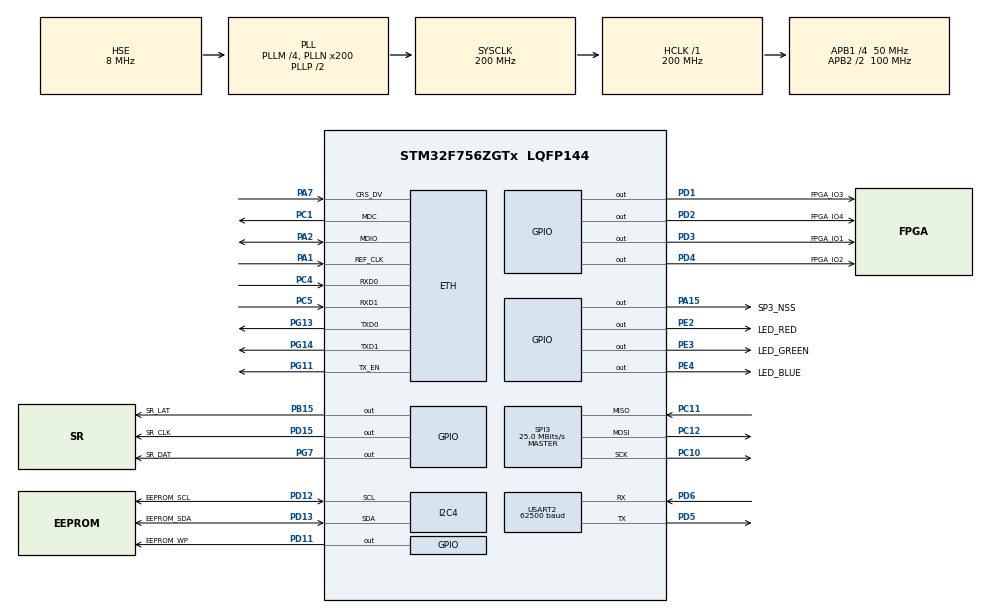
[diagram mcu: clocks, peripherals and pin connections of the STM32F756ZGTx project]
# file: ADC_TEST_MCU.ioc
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ETH.MediaInterface=ETH_MEDIA_INTERFACE_RMII
ETH.PHY_Name_RMII=LAN8742A_PHY_ADDRESS
ETH.PhyAddress=0
FREERTOS.Tasks01=defaultTask,24,256,StartDefaultTask,Default,NULL,Dynamic,NULL,NULL;myTaskLED,8,256,StartTaskLED,Default,NULL,Dynamic,NULL,NULL;LogData,8,256,StartTaskLogData,Default,NULL,Dynamic,NULL,NULL
FREERTOS.configMINIMAL_STACK_SIZE=256
FREERTOS.configTOTAL_HEAP_SIZE=90720
FREERTOS.configUSE_NEWLIB_REENTRANT=1
I2C4.Timing=0x00C0EAFF
LWIP.DEFAULT_THREAD_STACKSIZE=2048
LWIP.GATEWAY_ADDRESS=192.168.000.001
LWIP.IP_ADDRESS=192.168.000.123
LWIP.LWIP_DHCP=0
LWIP.MEM_SIZE=6400
LWIP.NETMASK_ADDRESS=255.255.255.000
LWIP.TCPIP_THREAD_STACKSIZE=2048
LWIP.Version=v2.1.2_Cube
Mcu.Family=STM32F7
Mcu.Name=STM32F756ZGTx
Mcu.Package=LQFP144
NVIC.ETH_IRQn=true\:5\:0\:true\:false\:true\:false\:false\:true
NVIC.PriorityGroup=NVIC_PRIORITYGROUP_4
NVIC.TIM1_UP_TIM10_IRQn=true\:0\:0\:false\:false\:true\:false\:false\:true
NVIC.TimeBase=TIM1_UP_TIM10_IRQn
NVIC.TimeBaseIP=TIM1
PA1.Mode=RMII
PA1.Signal=ETH_REF_CLK
PA13.Mode=Serial_Wire
PA13.Signal=SYS_JTMS-SWDIO
PA14.Mode=Serial_Wire
PA14.Signal=SYS_JTCK-SWCLK
PA15.GPIO_Label=SP3_NSS
PA15.Signal=GPIO_Output
PA2.Mode=RMII
PA2.Signal=ETH_MDIO
PA7.Mode=RMII
PA7.Signal=ETH_CRS_DV
PB15.GPIO_Label=SR_LAT
PB15.GPIO_Speed=GPIO_SPEED_FREQ_HIGH
PB15.Signal=GPIO_Output
PC1.Mode=RMII
PC1.Signal=ETH_MDC
PC10.Mode=Full_Duplex_Master
PC10.Signal=SPI3_SCK
PC11.Mode=Full_Duplex_Master
PC11.Signal=SPI3_MISO
PC12.Mode=Full_Duplex_Master
PC12.Signal=SPI3_MOSI
PC4.Mode=RMII
PC4.Signal=ETH_RXD0
PC5.Mode=RMII
PC5.Signal=ETH_RXD1
PD1.GPIO_Label=FPGA_IO3
PD1.Signal=GPIO_Output
PD11.GPIO_Label=EEPROM_WP
PD11.Signal=GPIO_Output
PD12.GPIO_Label=EEPROM_SCL
PD12.Mode=I2C
PD12.Signal=I2C4_SCL
PD13.GPIO_Label=EEPROM_SDA
PD13.Mode=I2C
PD13.Signal=I2C4_SDA
PD15.GPIO_Label=SR_CLK
PD15.GPIO_Speed=GPIO_SPEED_FREQ_HIGH
PD15.Signal=GPIO_Output
PD2.GPIO_Label=FPGA_IO4
PD2.Signal=GPIO_Output
PD3.GPIO_Label=FPGA_IO1
PD3.Signal=GPIO_Output
PD4.GPIO_Label=FPGA_IO2
PD4.Signal=GPIO_Output
PD5.Mode=Asynchronous
PD5.Signal=USART2_TX
PD6.GPIO_PuPd=GPIO_PULLUP
PD6.GPIO_Speed=GPIO_SPEED_FREQ_MEDIUM
PD6.Mode=Asynchronous
PD6.Signal=USART2_RX
PE2.GPIO_Label=LED_RED
PE2.GPIO_Speed=GPIO_SPEED_FREQ_MEDIUM
PE2.PinState=GPIO_PIN_SET
PE2.Signal=GPIO_Output
PE3.GPIO_Label=LED_GREEN
PE3.GPIO_Speed=GPIO_SPEED_FREQ_MEDIUM
PE3.PinState=GPIO_PIN_SET
PE3.Signal=GPIO_Output
PE4.GPIO_Label=LED_BLUE
PE4.GPIO_Speed=GPIO_SPEED_FREQ_MEDIUM
PE4.PinState=GPIO_PIN_SET
PE4.Signal=GPIO_Output
PG11.Mode=RMII
PG11.Signal=ETH_TX_EN
PG13.Mode=RMII
PG13.Signal=ETH_TXD0
PG14.Mode=RMII
PG14.Signal=ETH_TXD1
PG7.GPIO_Label=SR_DAT
PG7.GPIO_Speed=GPIO_SPEED_FREQ_HIGH
PG7.Signal=GPIO_Output
PH0/OSC_IN.Mode=HSE-External-Oscillator
PH0/OSC_IN.Signal=RCC_OSC_IN
PH1/OSC_OUT.Mode=HSE-External-Oscillator
PH1/OSC_OUT.Signal=RCC_OSC_OUT
ProjectManager.HeapSize=0x200
ProjectManager.StackSize=0x400
ProjectManager.TargetToolchain=STM32CubeIDE
RCC.AHBFreq_Value=200000000
RCC.APB1CLKDivider=RCC_HCLK_DIV4
RCC.APB1Freq_Value=50000000
RCC.APB1TimFreq_Value=100000000
RCC.APB2CLKDivider=RCC_HCLK_DIV2
RCC.APB2Freq_Value=100000000
RCC.APB2TimFreq_Value=200000000
RCC.CortexFreq_Value=200000000
RCC.HCLKFreq_Value=200000000
RCC.HSE_VALUE=8000000
RCC.HSI_VALUE=16000000
RCC.LSE_VALUE=32768
RCC.PLLM=4
RCC.PLLN=200
RCC.PLLSourceVirtual=RCC_PLLSOURCE_HSE
RCC.SYSCLKFreq_VALUE=200000000
RCC.SYSCLKSource=RCC_SYSCLKSOURCE_PLLCLK
RCC.USBFreq_Value=200000000
RCC.VCOOutputFreq_Value=400000000
SPI3.CalculateBaudRate=25.0 MBits/s
SPI3.Direction=SPI_DIRECTION_2LINES
SPI3.Mode=SPI_MODE_MASTER
SPI3.VirtualType=VM_MASTER
USART2.AutoBaudRateEnableParam=UART_ADVFEATURE_AUTOBAUDRATE_DISABLE
USART2.BaudRate=62500
USART2.DataInvertParam=ADVFEATURE_DATAINV_DISABLE
USART2.MSBFirstParam=ADVFEATURE_MSBFIRST_DISABLE
USART2.OverSampling=UART_OVERSAMPLING_16
USART2.VirtualMode-Asynchronous=VM_ASYNC
USART2.WordLength=WORDLENGTH_8B
VP_FREERTOS_VS_CMSIS_V2.Mode=CMSIS_V2
VP_LWIP_VS_Enabled.Mode=Enabled
VP_SYS_VS_tim1.Mode=TIM1
board=custom

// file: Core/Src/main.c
/* USER CODE BEGIN Header */
/**
  ******************************************************************************
  * @file           : main.c
  * @brief          : Main program body
  ******************************************************************************
  * @attention
  *
  * <h2><center>&copy; Copyright (c) 2020 STMicroelectronics.
  * All rights reserved.</center></h2>
  *
  * This software component is licensed by ST under BSD 3-Clause license,
  * the "License"; You may not use this file except in compliance with the
  * License. You may obtain a copy of the License at:
  *                        opensource.org/licenses/BSD-3-Clause
  *
  ******************************************************************************
  */
/* USER CODE END Header */
#include "main.h"
#include "cmsis_os.h"
#include "lwip.h"
#include "bsp_ee24.h"

I2C_HandleTypeDef hi2c4;

SPI_HandleTypeDef hspi3;

UART_HandleTypeDef huart2;

/* Definitions for defaultTask */
osThreadId_t defaultTaskHandle;
const osThreadAttr_t defaultTask_attributes = {
  .name = "defaultTask",
  .priority = (osPriority_t) osPriorityNormal,
  .stack_size = 256 * 4
};
/* Definitions for myTaskLED */
osThreadId_t myTaskLEDHandle;
const osThreadAttr_t myTaskLED_attributes = {
  .name = "myTaskLED",
  .priority = (osPriority_t) osPriorityLow,
  .stack_size = 256 * 4
};
/* Definitions for LogData */
osThreadId_t LogDataHandle;
const osThreadAttr_t LogData_attributes = {
  .name = "LogData",
  .priority = (osPriority_t) osPriorityLow,
  .stack_size = 256 * 4
};
/* USER CODE BEGIN PV */

uint8_t rx_data[6] = {0x00};
uint8_t it_array_mul[10]={1, 1, 1, 1, 2, 5, 10, 0};
double it_array_refcor[3]={1, 1.01582, 1};
uint32_t count_fail= 0;
uint8_t new_data = 0;
struct cfg_struct dmm;

/* USER CODE END PV */

void SystemClock_Config(void);
static void MX_GPIO_Init(void);
static void MX_I2C4_Init(void);
static void MX_SPI3_Init(void);
static void MX_USART2_UART_Init(void);
void StartDefaultTask(void *argument);
void StartTaskLED(void *argument);
void StartTaskLogData(void *argument);
void DMM_Init();

int main(void)
{

  /* MCU Configuration--------------------------------------------------------*/

  /* Reset of all peripherals, Initializes the Flash interface and the Systick. */
  HAL_Init();

  /* Configure the system clock */
  SystemClock_Config();

  /* Initialize all configured peripherals */
  MX_GPIO_Init();
  MX_I2C4_Init();
  MX_SPI3_Init();
  MX_USART2_UART_Init();
  /* USER CODE BEGIN 2 */

  MX_LWIP_Init();
  DMM_Init();

  /* USER CODE END 2 */

  /* Init scheduler */
  osKernelInitialize();

  /* Create the thread(s) */
  /* creation of defaultTask */
  //defaultTaskHandle = osThreadNew(StartDefaultTask, NULL, &defaultTask_attributes);

  /* creation of myTaskLED */
  myTaskLEDHandle = osThreadNew(StartTaskLED, NULL, &myTaskLED_attributes);

  /* creation of LogData */
 // LogDataHandle = osThreadNew(StartTaskLogData, NULL, &LogData_attributes);

  /* USER CODE BEGIN RTOS_THREADS */

  scpi_server_init();

  /* USER CODE END RTOS_THREADS */

  /* Start scheduler */
  osKernelStart();

  /* We should never get here as control is now taken by the scheduler */
  /* Infinite loop */
  while (1)
  {

  }
}

void SystemClock_Config(void)
{
  RCC_OscInitTypeDef RCC_OscInitStruct = {0};
  RCC_ClkInitTypeDef RCC_ClkInitStruct = {0};
  RCC_PeriphCLKInitTypeDef PeriphClkInitStruct = {0};

  /** Configure the main internal regulator output voltage
  */
  __HAL_RCC_PWR_CLK_ENABLE();
  __HAL_PWR_VOLTAGESCALING_CONFIG(PWR_REGULATOR_VOLTAGE_SCALE1);
  /** Initializes the RCC Oscillators according to the specified parameters
  * in the RCC_OscInitTypeDef structure.
  */
  RCC_OscInitStruct.OscillatorType = RCC_OSCILLATORTYPE_HSE;
  RCC_OscInitStruct.HSEState = RCC_HSE_ON;
  RCC_OscInitStruct.PLL.PLLState = RCC_PLL_ON;
  RCC_OscInitStruct.PLL.PLLSource = RCC_PLLSOURCE_HSE;
  RCC_OscInitStruct.PLL.PLLM = 4;
  RCC_OscInitStruct.PLL.PLLN = 200;
  RCC_OscInitStruct.PLL.PLLP = RCC_PLLP_DIV2;
  RCC_OscInitStruct.PLL.PLLQ = 2;
  if (HAL_RCC_OscConfig(&RCC_OscInitStruct) != HAL_OK)
  {
    Error_Handler();
  }
  /** Activate the Over-Drive mode
  */
  if (HAL_PWREx_EnableOverDrive() != HAL_OK)
  {
    Error_Handler();
  }
  /** Initializes the CPU, AHB and APB buses clocks
  */
  RCC_ClkInitStruct.ClockType = RCC_CLOCKTYPE_HCLK|RCC_CLOCKTYPE_SYSCLK
                              |RCC_CLOCKTYPE_PCLK1|RCC_CLOCKTYPE_PCLK2;
  RCC_ClkInitStruct.SYSCLKSource = RCC_SYSCLKSOURCE_PLLCLK;
  RCC_ClkInitStruct.AHBCLKDivider = RCC_SYSCLK_DIV1;
  RCC_ClkInitStruct.APB1CLKDivider = RCC_HCLK_DIV4;
  RCC_ClkInitStruct.APB2CLKDivider = RCC_HCLK_DIV2;

  if (HAL_RCC_ClockConfig(&RCC_ClkInitStruct, FLASH_LATENCY_6) != HAL_OK)
  {
    Error_Handler();
  }
  PeriphClkInitStruct.PeriphClockSelection = RCC_PERIPHCLK_USART2|RCC_PERIPHCLK_I2C4;
  PeriphClkInitStruct.Usart2ClockSelection = RCC_USART2CLKSOURCE_PCLK1;
  PeriphClkInitStruct.I2c4ClockSelection = RCC_I2C4CLKSOURCE_PCLK1;
  if (HAL_RCCEx_PeriphCLKConfig(&PeriphClkInitStruct) != HAL_OK)
  {
    Error_Handler();
  }
}

static void MX_I2C4_Init(void)
{

  hi2c4.Instance = I2C4;
  hi2c4.Init.Timing = 0x00C0EAFF;
  hi2c4.Init.OwnAddress1 = 0;
  hi2c4.Init.AddressingMode = I2C_ADDRESSINGMODE_7BIT;
  hi2c4.Init.DualAddressMode = I2C_DUALADDRESS_DISABLE;
  hi2c4.Init.OwnAddress2 = 0;
  hi2c4.Init.OwnAddress2Masks = I2C_OA2_NOMASK;
  hi2c4.Init.GeneralCallMode = I2C_GENERALCALL_DISABLE;
  hi2c4.Init.NoStretchMode = I2C_NOSTRETCH_DISABLE;
  if (HAL_I2C_Init(&hi2c4) != HAL_OK)
  {
    Error_Handler();
  }
  /** Configure Analogue filter
  */
  if (HAL_I2CEx_ConfigAnalogFilter(&hi2c4, I2C_ANALOGFILTER_ENABLE) != HAL_OK)
  {
    Error_Handler();
  }
  /** Configure Digital filter
  */
  if (HAL_I2CEx_ConfigDigitalFilter(&hi2c4, 0) != HAL_OK)
  {
    Error_Handler();
  }

}

static void MX_SPI3_Init(void)
{

  /* SPI3 parameter configuration*/
  hspi3.Instance = SPI3;
  hspi3.Init.Mode = SPI_MODE_MASTER;
  hspi3.Init.Direction = SPI_DIRECTION_2LINES;
  hspi3.Init.DataSize = SPI_DATASIZE_4BIT;
  hspi3.Init.CLKPolarity = SPI_POLARITY_LOW;
  hspi3.Init.CLKPhase = SPI_PHASE_1EDGE;
  hspi3.Init.NSS = SPI_NSS_SOFT;
  hspi3.Init.BaudRatePrescaler = SPI_BAUDRATEPRESCALER_2;
  hspi3.Init.FirstBit = SPI_FIRSTBIT_MSB;
  hspi3.Init.TIMode = SPI_TIMODE_DISABLE;
  hspi3.Init.CRCCalculation = SPI_CRCCALCULATION_DISABLE;
  hspi3.Init.CRCPolynomial = 7;
  hspi3.Init.CRCLength = SPI_CRC_LENGTH_DATASIZE;
  hspi3.Init.NSSPMode = SPI_NSS_PULSE_ENABLE;
  if (HAL_SPI_Init(&hspi3) != HAL_OK)
  {
    Error_Handler();
  }

}

static void MX_USART2_UART_Init(void)
{

  huart2.Instance = USART2;
  huart2.Init.BaudRate = 62500;
  huart2.Init.WordLength = UART_WORDLENGTH_8B;
  huart2.Init.StopBits = UART_STOPBITS_1;
  huart2.Init.Parity = UART_PARITY_NONE;
  huart2.Init.Mode = UART_MODE_TX_RX;
  huart2.Init.HwFlowCtl = UART_HWCONTROL_NONE;
  huart2.Init.OverSampling = UART_OVERSAMPLING_16;
  huart2.Init.OneBitSampling = UART_ONE_BIT_SAMPLE_DISABLE;
  huart2.AdvancedInit.AdvFeatureInit = UART_ADVFEATURE_NO_INIT;
  if (HAL_UART_Init(&huart2) != HAL_OK)
  {
    Error_Handler();
  }

}

static void MX_GPIO_Init(void)
{
  GPIO_InitTypeDef GPIO_InitStruct = {0};

  /* GPIO Ports Clock Enable */
  __HAL_RCC_GPIOE_CLK_ENABLE();
  __HAL_RCC_GPIOH_CLK_ENABLE();
  __HAL_RCC_GPIOC_CLK_ENABLE();
  __HAL_RCC_GPIOA_CLK_ENABLE();
  __HAL_RCC_GPIOB_CLK_ENABLE();
  __HAL_RCC_GPIOD_CLK_ENABLE();
  __HAL_RCC_GPIOG_CLK_ENABLE();

  /*Configure GPIO pin Output Level */
  HAL_GPIO_WritePin(GPIOE, LED_RED_Pin|LED_GREEN_Pin|LED_BLUE_Pin, GPIO_PIN_SET);

  /*Configure GPIO pin Output Level */
  HAL_GPIO_WritePin(SR_LAT_GPIO_Port, SR_LAT_Pin, GPIO_PIN_RESET);

  /*Configure GPIO pin Output Level */
  HAL_GPIO_WritePin(GPIOD, EEPROM_WP_Pin|SR_CLK_Pin|FPGA_IO3_Pin|FPGA_IO4_Pin
                          |FPGA_IO1_Pin|FPGA_IO2_Pin, GPIO_PIN_RESET);

  /*Configure GPIO pin Output Level */
  HAL_GPIO_WritePin(SR_DAT_GPIO_Port, SR_DAT_Pin, GPIO_PIN_RESET);

  /*Configure GPIO pin Output Level */
  HAL_GPIO_WritePin(SP3_NSS_GPIO_Port, SP3_NSS_Pin, GPIO_PIN_RESET);

  /*Configure GPIO pins : LED_RED_Pin LED_GREEN_Pin LED_BLUE_Pin */
  GPIO_InitStruct.Pin = LED_RED_Pin|LED_GREEN_Pin|LED_BLUE_Pin;
  GPIO_InitStruct.Mode = GPIO_MODE_OUTPUT_PP;
  GPIO_InitStruct.Pull = GPIO_NOPULL;
  GPIO_InitStruct.Speed = GPIO_SPEED_FREQ_MEDIUM;
  HAL_GPIO_Init(GPIOE, &GPIO_InitStruct);

  /*Configure GPIO pin : SR_LAT_Pin */
  GPIO_InitStruct.Pin = SR_LAT_Pin;
  GPIO_InitStruct.Mode = GPIO_MODE_OUTPUT_PP;
  GPIO_InitStruct.Pull = GPIO_NOPULL;
  GPIO_InitStruct.Speed = GPIO_SPEED_FREQ_HIGH;
  HAL_GPIO_Init(SR_LAT_GPIO_Port, &GPIO_InitStruct);

  /*Configure GPIO pins : EEPROM_WP_Pin FPGA_IO3_Pin FPGA_IO4_Pin FPGA_IO1_Pin
                           FPGA_IO2_Pin */
  GPIO_InitStruct.Pin = EEPROM_WP_Pin|FPGA_IO3_Pin|FPGA_IO4_Pin|FPGA_IO1_Pin
                          |FPGA_IO2_Pin;
  GPIO_InitStruct.Mode = GPIO_MODE_OUTPUT_PP;
  GPIO_InitStruct.Pull = GPIO_NOPULL;
  GPIO_InitStruct.Speed = GPIO_SPEED_FREQ_LOW;
  HAL_GPIO_Init(GPIOD, &GPIO_InitStruct);

  /*Configure GPIO pin : SR_CLK_Pin */
  GPIO_InitStruct.Pin = SR_CLK_Pin;
  GPIO_InitStruct.Mode = GPIO_MODE_OUTPUT_PP;
  GPIO_InitStruct.Pull = GPIO_NOPULL;
  GPIO_InitStruct.Speed = GPIO_SPEED_FREQ_HIGH;
  HAL_GPIO_Init(SR_CLK_GPIO_Port, &GPIO_InitStruct);

  /*Configure GPIO pin : SR_DAT_Pin */
  GPIO_InitStruct.Pin = SR_DAT_Pin;
  GPIO_InitStruct.Mode = GPIO_MODE_OUTPUT_PP;
  GPIO_InitStruct.Pull = GPIO_NOPULL;
  GPIO_InitStruct.Speed = GPIO_SPEED_FREQ_HIGH;
  HAL_GPIO_Init(SR_DAT_GPIO_Port, &GPIO_InitStruct);

  /*Configure GPIO pin : SP3_NSS_Pin */
  GPIO_InitStruct.Pin = SP3_NSS_Pin;
  GPIO_InitStruct.Mode = GPIO_MODE_OUTPUT_PP;
  GPIO_InitStruct.Pull = GPIO_NOPULL;
  GPIO_InitStruct.Speed = GPIO_SPEED_FREQ_LOW;
  HAL_GPIO_Init(SP3_NSS_GPIO_Port, &GPIO_InitStruct);

}

/* USER CODE BEGIN 4 */

BSP_StatusTypeDef eeprom_status()
{
	uint8_t rx_data = 0;

	if(ee24_isConnected())
	{
		if(ee24_read(EEPROM_END, &rx_data, 1, 1000))
		{
			if(EEPROM_WRITE_DONE == rx_data)
			{
				return BSP_OK;
			}
			else
			{
				return BSP_EEPROM_EMPTY;
			}

		}
		else
		{
			return BSP_EEPROM_READ_ERROR;
		}

	}
	else
	{
		return BSP_EEPROM_NO_CONNECTION;
	}
}

BSP_StatusTypeDef eeprom_read(uint8_t* data, size_t size)
{

	if(ee24_isConnected())
	{
		if(ee24_read(0, data, size, 1000))
		{
			return BSP_OK;
		}
		else
		{
			return BSP_EEPROM_READ_ERROR;
		}

	}
	else
	{
		return BSP_EEPROM_NO_CONNECTION;
	}
}

BSP_StatusTypeDef eeprom_write(uint8_t* data, size_t size)
{
	uint8_t tx_data[1] = {EEPROM_WRITE_DONE};

	if(ee24_isConnected())
	{
		if(ee24_write(0, data, size, 1000))
		{
			if(ee24_write(EEPROM_END, &tx_data, 1, 1000))
			{
				return BSP_OK;
			}
			else
			{
				return BSP_EEPROM_WRITE_ERROR;
			}

		}
		else
		{
			return BSP_EEPROM_WRITE_ERROR;
		}

	}
	else
	{
		return BSP_EEPROM_NO_CONNECTION;
	}
}

void DMM_Init()
{
	BSP_StatusTypeDef status;
	status = eeprom_status();

	if(BSP_EEPROM_EMPTY == status)
	{

	 dmm.calibration.structure.adc_step = CAL_PREDEF_STEP;
	 dmm.calibration.structure.adc_z_offset = CAL_PREDEF_NZO;
	 dmm.calibration.structure.v_1V_offset = CAL_PREDEF_1VO;
	 dmm.calibration.structure.v_1V_gain = CAL_PREDEF_1VG;
	 dmm.calibration.structure.v_10V_offset = CAL_PREDEF_10VO;
	 dmm.calibration.structure.v_10V_gain = CAL_PREDEF_10VG;
	 dmm.calibration.structure.v_100V_offset = CAL_PREDEF_100VO;
	 dmm.calibration.structure.v_100V_gain = CAL_PREDEF_100VG;

	 dmm.adc_cf[0] = 1.000145;
	 dmm.adc_cf[1] = 1.000060;
	 dmm.adc_cf[2] = 1.000015;
	 dmm.adc_cf[3] = 1.0;
	 dmm.adc_cf[4] = 1.0;
	 dmm.adc_cf[5] = 1.0;
	 dmm.adc_cf[6] = 1.0;

	 dmm.adc_raw[0] = 1;
	 dmm.adc_raw[1] = 2;
	 dmm.adc_raw[2] = 5;
	 dmm.adc_raw[3] = 10;
	 dmm.adc_raw[4] = 10;
	 dmm.adc_raw[5] = 10;
	 dmm.adc_raw[6] = 10;

	 dmm.adc_nplc[0] = 1;
	 dmm.adc_nplc[1] = 2;
	 dmm.adc_nplc[2] = 5;
	 dmm.adc_nplc[3] = 10;
	 dmm.adc_nplc[4] = 20;
	 dmm.adc_nplc[5] = 50;
	 dmm.adc_nplc[6] = 100;

	 dmm.nplc = 10;
	 dmm.range = 100;
	 dmm.range_index = 2;
	 dmm.nplc_index = 3;
	 dmm.samples = 1;
	 dmm.zero_val = 0;
	 dmm.zero_done = 0;
	 dmm.zero_status = ZERO_ON;

	}
	else if(BSP_OK == status)
	{
		eeprom_read(dmm.calibration.bytes, STRUCT_SIZE);
	}

	meas_path(dmm.range, NORM_MEAS);

	HAL_GPIO_WritePin(FPGA_IO1_GPIO_Port, FPGA_IO1_Pin, 1);

}

/* USER CODE END 4 */

void StartDefaultTask(void *argument)
{
  /* init code for LWIP */
  MX_LWIP_Init();
  /* USER CODE BEGIN 5 */

  /* Infinite loop */
  for(;;)
  {
	   // osThreadTerminate(NULL);
  }
  /* USER CODE END 5 */
}

void StartTaskLED(void *argument)
{
  /* USER CODE BEGIN StartTaskLED */
  /* Infinite loop */
  for(;;)
  {
	 HAL_GPIO_TogglePin(LED_BLUE_GPIO_Port, LED_BLUE_Pin);
	 osDelay(pdMS_TO_TICKS(1000));
  }
  /* USER CODE END StartTaskLED */
}

void StartTaskLogData(void *argument)
{
  /* USER CODE BEGIN StartTaskLogData */
  /* Infinite loop */
  for(;;)
  {
	  HAL_UART_Init(&huart2);
	  if(HAL_OK ==HAL_UART_Receive(&huart2, (uint8_t *)rx_data, 6, 600))
	  {
		  HAL_GPIO_TogglePin(LED_GREEN_GPIO_Port, LED_GREEN_Pin);
		  new_data = 1;
	  }
	  else
	  {
		  HAL_GPIO_TogglePin(LED_RED_GPIO_Port, LED_RED_Pin);
		  count_fail++;
	  }
	  HAL_UART_DeInit(&huart2);
	  osDelay(pdMS_TO_TICKS(5));
  }
  /* USER CODE END StartTaskLogData */
}

void HAL_TIM_PeriodElapsedCallback(TIM_HandleTypeDef *htim)
{
  if (htim->Instance == TIM1) {
    HAL_IncTick();
  }
}

void Error_Handler(void)
{
}

/************************ (C) COPYRIGHT STMicroelectronics *****END OF FILE****/
